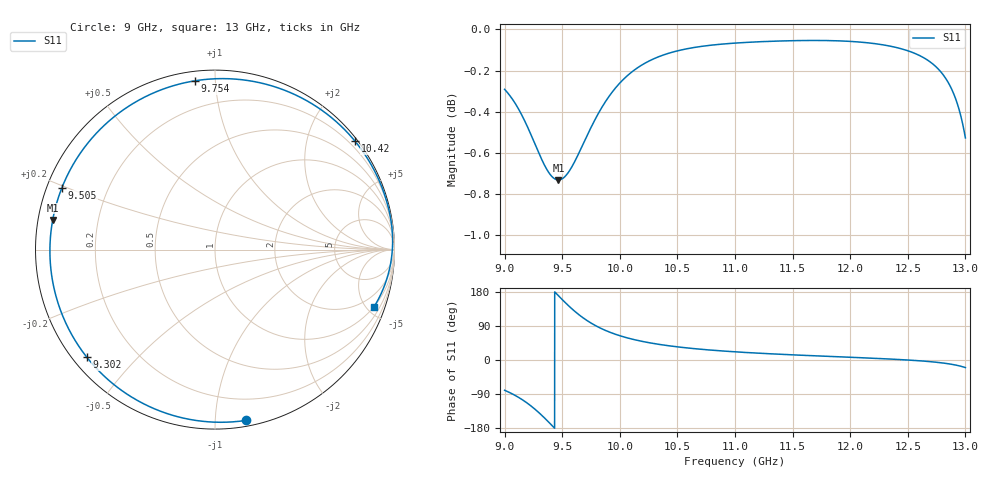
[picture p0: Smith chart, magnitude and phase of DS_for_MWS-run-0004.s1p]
! TOUCHSTONE file generated by CST DESIGN STUDIO
! Date and time: Tue Feb  4 12:57:22 2025
! Project name: C:\Work\MatlabApps\UnitCellOptimizationMatlab\CST\unitcell.cst
! Tree item: Tasks\Sweep1\SPara1\S-Parameters
! Header version: 2024
! Port assignment regex: !\s*Touchstone port\s*([0-9]+)\s*=\s*(CST MWS port|CST DES external port|CST DES block port)\s*(.+)\s* \(\"(.*)\"\)(\s*mode\s*([0-9]+))?.*
! Touchstone port assignment:
! Touchstone port 1 = CST DES external port 1 ("")
# GHz S MA R 50
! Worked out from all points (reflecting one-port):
!   4001 points, 9 GHz to 13 GHz, reference 50 ohm
!   lowest |S11| = -0.7 dB at 9.467 GHz (marker M1), VSWR 23.75, Z = 2.12 + j4.51 ohm
!   phase of S11 starts at -80 deg and turns -300 deg over the sweep
!   S11 on the Smith chart (normalised r, x): 9 GHz: 0.04, -1.19; 9.302 GHz: 0.04, -0.36; 9.505 GHz: 0.04, +0.19; 9.754 GHz: 0.05, +0.89; 10.42 GHz: 0.06, +2.92; 13 GHz: 0.98, -5.50
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9  0.967 -79.9
9.094  0.9592 -93.9
9.169  0.9508 -107.9
9.237  0.9416 -123.2
9.302  0.9325 -140.1
9.348  0.9266 -153.4
9.389  0.9225 -165.9
9.428  0.92 -178.1
9.467  0.9192 169.7
9.5  0.9198 159.5
9.505  0.92 157.9
9.566  0.9242 140.1
9.625  0.9307 124.4
9.686  0.9384 110.3
9.754  0.9471 96.8
9.873  0.9601 78.4
10  0.9704 64.1
10.088  0.9756 56.5
10.185  0.98 49.7
10.419  0.9866 37.8
10.5  0.9881 34.7
11  0.9924 21.6
11.5  0.9937 13.6
12  0.9933 7.2
12.5  0.9881 -0.0
12.799  0.9756 -7.7
12.901  0.9642 -12.5
13  0.9411 -20.0
